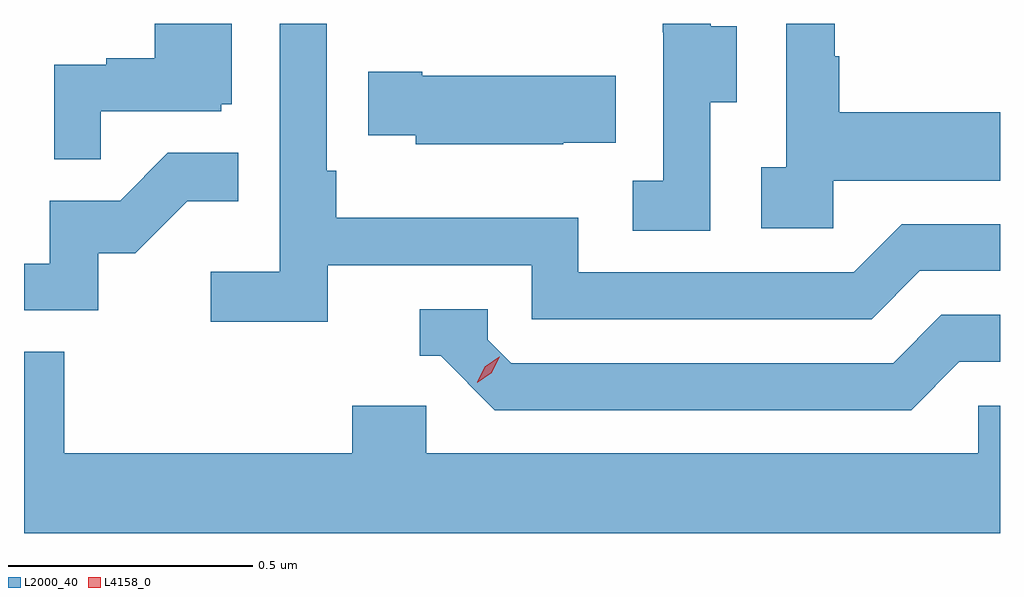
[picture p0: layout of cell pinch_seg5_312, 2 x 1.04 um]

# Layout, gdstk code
import gdstk
lib = gdstk.Library(unit=1e-6, precision=1e-09)
def P(c, l, *ps):  # polygons
    for p in ps: c.add(gdstk.Polygon(p, *l))
L2000_40 = (2000, 40)
L4158_0 = (4158, 0)

pinch_seg5_312 = lib.new_cell('pinch_seg5_312')
P(pinch_seg5_312, L2000_40, [(910.404,893.608),(910.459,893.608),(910.459,893.763),(910.405,893.763),(910.405,893.769),(910.307,893.769),(910.307,893.751),(910.308,893.751),(910.308,893.447),(910.245,893.447),(910.245,893.344),(910.404,893.344)],
  [(910.656,893.447),(910.998,893.447),(910.998,893.587),(910.669,893.587),(910.669,893.702),(910.659,893.702),(910.659,893.769),(910.56,893.769),(910.56,893.474),(910.509,893.474),(910.509,893.349),(910.656,893.349)],
  [(909.155,893.589),(909.402,893.589),(909.402,893.604),(909.424,893.604),(909.424,893.769),(909.266,893.769),(909.266,893.698),(909.167,893.698),(909.167,893.685),(909.06,893.685),(909.06,893.491),(909.155,893.491)],
  [(909.62,893.274),(910.038,893.274),(910.038,893.163),(910.735,893.163),(910.834,893.262),(910.998,893.262),(910.998,893.358),(910.797,893.358),(910.698,893.259),(910.134,893.259),(910.134,893.371),(909.638,893.371),(909.638,893.467),(909.618,893.467),(909.618,893.769),(909.522,893.769),(909.522,893.26),(909.381,893.26),(909.381,893.158),(909.62,893.158)],
  [(910.103,893.525),(910.211,893.525),(910.211,893.662),(909.814,893.662),(909.814,893.67),(909.703,893.67),(909.703,893.54),(909.801,893.54),(909.801,893.522),(910.103,893.522)],
  [(909.15,893.298),(909.226,893.298),(909.333,893.405),(909.437,893.405),(909.437,893.504),(909.293,893.504),(909.195,893.406),(909.051,893.406),(909.051,893.277),(908.998,893.277),(908.998,893.181),(909.15,893.181)],
  [(910.915,893.076),(910.998,893.076),(910.998,893.172),(910.878,893.172),(910.779,893.073),(909.996,893.073),(909.948,893.121),(909.948,893.184),(909.809,893.184),(909.809,893.088),(909.852,893.088),(909.963,892.977),(910.816,892.977)],
  [(910.998,892.986),(910.953,892.986),(910.953,892.888),(909.822,892.888),(909.822,892.986),(909.671,892.986),(909.671,892.888),(909.08,892.888),(909.08,893.096),(908.998,893.096),(908.998,892.724),(910.998,892.724)])
P(pinch_seg5_312, L4158_0, [(909.927,893.033),(909.927,893.034),(909.942,893.066),(909.972,893.086),(909.973,893.086),(909.973,893.086),(909.957,893.053),(909.927,893.033)])

lib.write_gds('pinch_seg5_312.gds')
